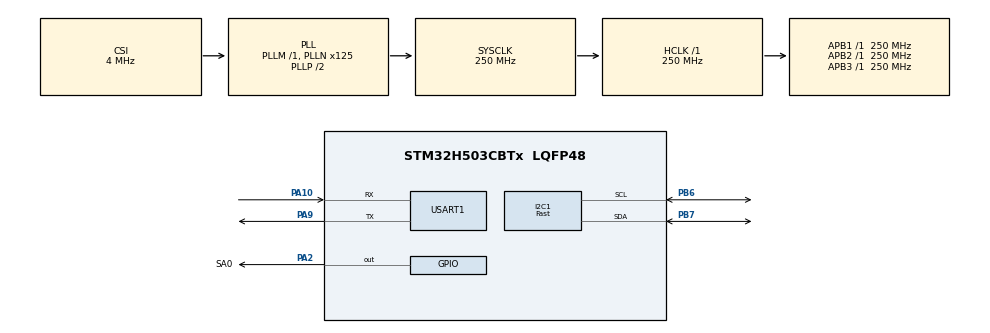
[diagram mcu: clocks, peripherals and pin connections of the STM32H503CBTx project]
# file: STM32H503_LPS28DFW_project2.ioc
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I2C1.I2C_Speed_Mode=I2C_Fast
I2C1.Timing=0x10C043E5
Mcu.Family=STM32H5
Mcu.Name=STM32H503CBTx
Mcu.Package=LQFP48
NVIC.PriorityGroup=NVIC_PRIORITYGROUP_4
PA10.Mode=Asynchronous
PA10.Signal=USART1_RX
PA2.GPIO_Label=SA0
PA2.Signal=GPIO_Output
PA9.Mode=Asynchronous
PA9.Signal=USART1_TX
PB6.Mode=I2C
PB6.Signal=I2C1_SCL
PB7.Mode=I2C
PB7.Signal=I2C1_SDA
ProjectManager.HeapSize=0x200
ProjectManager.StackSize=0x400
ProjectManager.TargetToolchain=MDK-ARM V5.37
RCC.ADCFreq_Value=250000000
RCC.AHBFreq_Value=250000000
RCC.APB1Freq_Value=250000000
RCC.APB1TimFreq_Value=250000000
RCC.APB2Freq_Value=250000000
RCC.APB2TimFreq_Value=250000000
RCC.APB3Freq_Value=250000000
RCC.CSI_VALUE=4000000
RCC.CortexFreq_Value=250000000
RCC.EPOD_VALUE=4000000
RCC.HCLKFreq_Value=250000000
RCC.HSE_VALUE=25000000
RCC.HSI48_VALUE=48000000
RCC.HSI_VALUE=64000000
RCC.LSE_VALUE=32768
RCC.LSIRC_VALUE=32000
RCC.PLL2FRACN=0
RCC.PLLFRACN=0
RCC.PLLN=125
RCC.SYSCLKFreq_VALUE=250000000
RCC.SYSCLKSource=RCC_SYSCLKSOURCE_PLLCLK
RCC.USBFreq_Value=48000000
RCC.VCOOutputFreq_Value=500000000
USART1.VirtualMode-Asynchronous=VM_ASYNC
VP_BOOTPATH_VS_BOOTPATH.Mode=BP_Activate
VP_CORTEX_M33_NS_VS_Hclk.Mode=Hclk_Mode
VP_ICACHE_VS_ICACHE.Mode=DirectMappedCache
VP_MEMORYMAP_VS_MEMORYMAP.Mode=CurAppReg
VP_PWR_VS_DBSignals.Mode=DisableDeadBatterySignals
VP_PWR_VS_LPOM.Mode=PowerOptimisation
VP_PWR_VS_SECSignals.Mode=Security/Privilege
board=custom

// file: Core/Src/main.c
/* USER CODE BEGIN Header */
/**
  ******************************************************************************
  * @file           : main.c
  * @brief          : Main program body
  ******************************************************************************
  * @attention
  *
  * Copyright (c) 2024 STMicroelectronics.
  * All rights reserved.
  *
  * This software is licensed under terms that can be found in the LICENSE file
  * in the root directory of this software component.
  * If no LICENSE file comes with this software, it is provided AS-IS.
  *
  ******************************************************************************
  */
/* USER CODE END Header */
#include "main.h"
#include "i2c.h"
#include "icache.h"
#include "memorymap.h"
#include "usart.h"
#include "gpio.h"

/* USER CODE BEGIN Includes */
#include "stdio.h"

#include "lps28dfw_reg.h"
/* USER CODE END Includes */

void SystemClock_Config(void);
/* USER CODE BEGIN PFP */
int fputc(int ch, FILE *f){
	HAL_UART_Transmit(&huart1 , (uint8_t *)&ch, 1, 0xFFFF);
	return ch;
}
/* USER CODE END PFP */

/* USER CODE BEGIN 0 */

#define SENSOR_BUS hi2c1

/* Private macro -------------------------------------------------------------*/
#define    BOOT_TIME         10 //ms

/* Private variables ---------------------------------------------------------*/
static uint8_t tx_buffer[1000];
static lps28dfw_data_t data;

/* Extern variables ----------------------------------------------------------*/

/* Private functions ---------------------------------------------------------*/
/*
 *   WARNING:
 *   Functions declare in this section are defined at the end of this file
 *   and are strictly related to the hardware platform used.
 *
 */
static int32_t platform_write(void *handle, uint8_t reg, const uint8_t *bufp,
                              uint16_t len);
static int32_t platform_read(void *handle, uint8_t reg, uint8_t *bufp,
                             uint16_t len);
static void tx_com( uint8_t *tx_buffer, uint16_t len );
static void platform_delay(uint32_t ms);
static void platform_init(void);
/* USER CODE END 0 */

int main(void)
{

  /* MCU Configuration--------------------------------------------------------*/

  /* Reset of all peripherals, Initializes the Flash interface and the Systick. */
  HAL_Init();

  /* Configure the system clock */
  SystemClock_Config();

  /* Initialize all configured peripherals */
  MX_GPIO_Init();
  MX_I2C1_Init();
  MX_USART1_UART_Init();
  MX_ICACHE_Init();
  /* USER CODE BEGIN 2 */
	printf("1111111111111111\n");

  lps28dfw_pin_int_route_t int_route;
  lps28dfw_all_sources_t all_sources;
  lps28dfw_bus_mode_t bus_mode;
  lps28dfw_stat_t status;
  stmdev_ctx_t dev_ctx;
  lps28dfw_id_t id;
  lps28dfw_md_t md;

  /* Initialize mems driver interface */
  dev_ctx.write_reg = platform_write;
  dev_ctx.read_reg = platform_read;
  dev_ctx.mdelay = platform_delay;
  dev_ctx.handle = &SENSOR_BUS;

	  HAL_GPIO_WritePin(SA0_GPIO_Port, SA0_Pin, GPIO_PIN_RESET);

  /* Initialize platform specific hardware */
//  platform_init();

  /* Wait sensor boot time */
  platform_delay(BOOT_TIME);

  /* Check device ID */
  lps28dfw_id_get(&dev_ctx, &id);
	printf("LPS28DFW_ID=0x%x,id.whoami=0x%x\n",LPS28DFW_ID,id.whoami);
  if (id.whoami != LPS28DFW_ID)
    while(1);

  /* Restore default configuration */
  lps28dfw_init_set(&dev_ctx, LPS28DFW_RESET);
  do {
    lps28dfw_status_get(&dev_ctx, &status);
  } while (status.sw_reset);

  /* Set bdu and if_inc recommended for driver usage */
  lps28dfw_init_set(&dev_ctx, LPS28DFW_DRV_RDY);

  /* Select bus interface */
  bus_mode.filter = LPS28DFW_AUTO;
  bus_mode.interface = LPS28DFW_SEL_BY_HW;
  lps28dfw_bus_mode_set(&dev_ctx, &bus_mode);

  /* Set Output Data Rate */
  md.odr = LPS28DFW_1Hz;
  md.avg = LPS28DFW_512_AVG;
  md.lpf = LPS28DFW_LPF_ODR_DIV_9;
  md.fs = LPS28DFW_1260hPa;
  lps28dfw_mode_set(&dev_ctx, &md);

  /* Configure inerrupt pins */
  lps28dfw_pin_int_route_get(&dev_ctx, &int_route);
  int_route.drdy_pres   = PROPERTY_DISABLE;
  lps28dfw_pin_int_route_set(&dev_ctx, &int_route);
	int i=0;
	float open_h;
  /* USER CODE END 2 */

  /* Infinite loop */
  /* USER CODE BEGIN WHILE */
  while (1)
  {

  /* Read output only if new values are available */
    lps28dfw_all_sources_get(&dev_ctx, &all_sources);
    if ( all_sources.drdy_pres | all_sources.drdy_temp ) {
      lps28dfw_data_get(&dev_ctx, &md, &data);
			if(i==0)
			{
				open_h	=data.pressure.hpa;
				printf("初始化压强:%6.2fhPa,温度:%6.2f\r\n",open_h,data.heat.deg_c);
				i++;
			}
			else
			{
				float h;
				h=(data.pressure.hpa-open_h)/(1000*9.8);//水深=压强/(水密度*重力加速度)
				//1百帕 (hPa)= 100 Pa = 1 mbar1千帕 (kPa)= 1000 Pa = 10 hPa
				printf("压强:%6.2fhPa,水深:%6.2f cm,温度:%6.2f\r\n",data.pressure.hpa,h*100*100,data.heat.deg_c);
			}
    }

    /* USER CODE END WHILE */

  }
}

void SystemClock_Config(void)
{
  RCC_OscInitTypeDef RCC_OscInitStruct = {0};
  RCC_ClkInitTypeDef RCC_ClkInitStruct = {0};

  /** Configure the main internal regulator output voltage
  */
  __HAL_PWR_VOLTAGESCALING_CONFIG(PWR_REGULATOR_VOLTAGE_SCALE0);

  while(!__HAL_PWR_GET_FLAG(PWR_FLAG_VOSRDY)) {}

  /** Initializes the RCC Oscillators according to the specified parameters
  * in the RCC_OscInitTypeDef structure.
  */
  RCC_OscInitStruct.OscillatorType = RCC_OSCILLATORTYPE_CSI;
  RCC_OscInitStruct.CSIState = RCC_CSI_ON;
  RCC_OscInitStruct.CSICalibrationValue = RCC_CSICALIBRATION_DEFAULT;
  RCC_OscInitStruct.PLL.PLLState = RCC_PLL_ON;
  RCC_OscInitStruct.PLL.PLLSource = RCC_PLL1_SOURCE_CSI;
  RCC_OscInitStruct.PLL.PLLM = 1;
  RCC_OscInitStruct.PLL.PLLN = 125;
  RCC_OscInitStruct.PLL.PLLP = 2;
  RCC_OscInitStruct.PLL.PLLQ = 2;
  RCC_OscInitStruct.PLL.PLLR = 2;
  RCC_OscInitStruct.PLL.PLLRGE = RCC_PLL1_VCIRANGE_2;
  RCC_OscInitStruct.PLL.PLLVCOSEL = RCC_PLL1_VCORANGE_WIDE;
  RCC_OscInitStruct.PLL.PLLFRACN = 0;
  if (HAL_RCC_OscConfig(&RCC_OscInitStruct) != HAL_OK)
  {
    Error_Handler();
  }

  /** Initializes the CPU, AHB and APB buses clocks
  */
  RCC_ClkInitStruct.ClockType = RCC_CLOCKTYPE_HCLK|RCC_CLOCKTYPE_SYSCLK
                              |RCC_CLOCKTYPE_PCLK1|RCC_CLOCKTYPE_PCLK2
                              |RCC_CLOCKTYPE_PCLK3;
  RCC_ClkInitStruct.SYSCLKSource = RCC_SYSCLKSOURCE_PLLCLK;
  RCC_ClkInitStruct.AHBCLKDivider = RCC_SYSCLK_DIV1;
  RCC_ClkInitStruct.APB1CLKDivider = RCC_HCLK_DIV1;
  RCC_ClkInitStruct.APB2CLKDivider = RCC_HCLK_DIV1;
  RCC_ClkInitStruct.APB3CLKDivider = RCC_HCLK_DIV1;

  if (HAL_RCC_ClockConfig(&RCC_ClkInitStruct, FLASH_LATENCY_5) != HAL_OK)
  {
    Error_Handler();
  }

  /** Configure the programming delay
  */
  __HAL_FLASH_SET_PROGRAM_DELAY(FLASH_PROGRAMMING_DELAY_2);
}

/* USER CODE BEGIN 4 */
static int32_t platform_write(void *handle, uint8_t reg, const uint8_t *bufp,
                              uint16_t len)
{
  HAL_I2C_Mem_Write(handle, LPS28DFW_I2C_ADD_L, reg,
                    I2C_MEMADD_SIZE_8BIT, (uint8_t*) bufp, len, 1000);
  return 0;
}

static int32_t platform_read(void *handle, uint8_t reg, uint8_t *bufp,
                             uint16_t len)
{
  HAL_I2C_Mem_Read(handle, LPS28DFW_I2C_ADD_L, reg,
                   I2C_MEMADD_SIZE_8BIT, bufp, len, 1000);
  return 0;
}

static void platform_delay(uint32_t ms)
{
  HAL_Delay(ms);
}
/* USER CODE END 4 */

void Error_Handler(void)
{
  __disable_irq();
  while (1)
  {
  }
}
